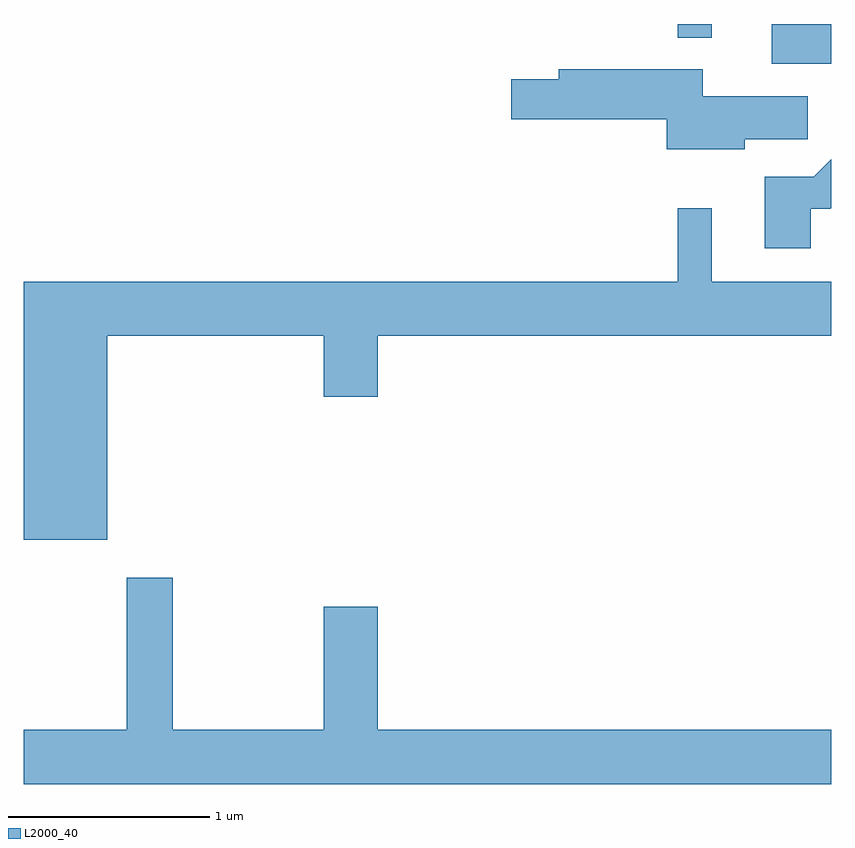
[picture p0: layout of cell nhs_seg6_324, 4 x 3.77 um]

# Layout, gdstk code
import gdstk
lib = gdstk.Library(unit=1e-6, precision=1e-09)
def R(c, l, rs):  # rectangles x0, y0, x1, y1
    for r in rs: c.add(gdstk.rectangle(r[:2], r[2:], *l))
def P(c, l, *ps):  # polygons
    for p in ps: c.add(gdstk.Polygon(p, *l))
L2000_40 = (2000, 40)

nhs_seg6_324 = lib.new_cell('nhs_seg6_324')
R(nhs_seg6_324, L2000_40, [(197.316,1637.966,197.611,1638.162), (196.851,1638.093,197.019,1638.162)])
P(nhs_seg6_324, L2000_40, [(197.184,1637.591),(197.494,1637.591),(197.494,1637.804),(196.974,1637.804),(196.974,1637.939),(196.261,1637.939),(196.261,1637.889),(196.026,1637.889),(196.026,1637.691),(196.796,1637.691),(196.796,1637.541),(197.184,1637.541)],
  [(197.509,1637.246),(197.607,1637.246),(197.611,1637.25),(197.611,1637.491),(197.524,1637.404),(197.281,1637.404),(197.281,1637.051),(197.509,1637.051)],
  [(194.024,1636.616),(195.096,1636.616),(195.096,1636.316),(195.364,1636.316),(195.364,1636.616),(197.611,1636.616),(197.611,1636.884),(197.019,1636.884),(197.019,1637.248),(196.851,1637.248),(196.851,1636.884),(193.611,1636.884),(193.611,1635.606),(194.024,1635.606)],
  [(197.611,1634.664),(195.364,1634.664),(195.364,1635.274),(195.096,1635.274),(195.096,1634.664),(194.349,1634.664),(194.349,1635.419),(194.121,1635.419),(194.121,1634.664),(193.611,1634.664),(193.611,1634.396),(197.611,1634.396)])

lib.write_gds('nhs_seg6_324.gds')
